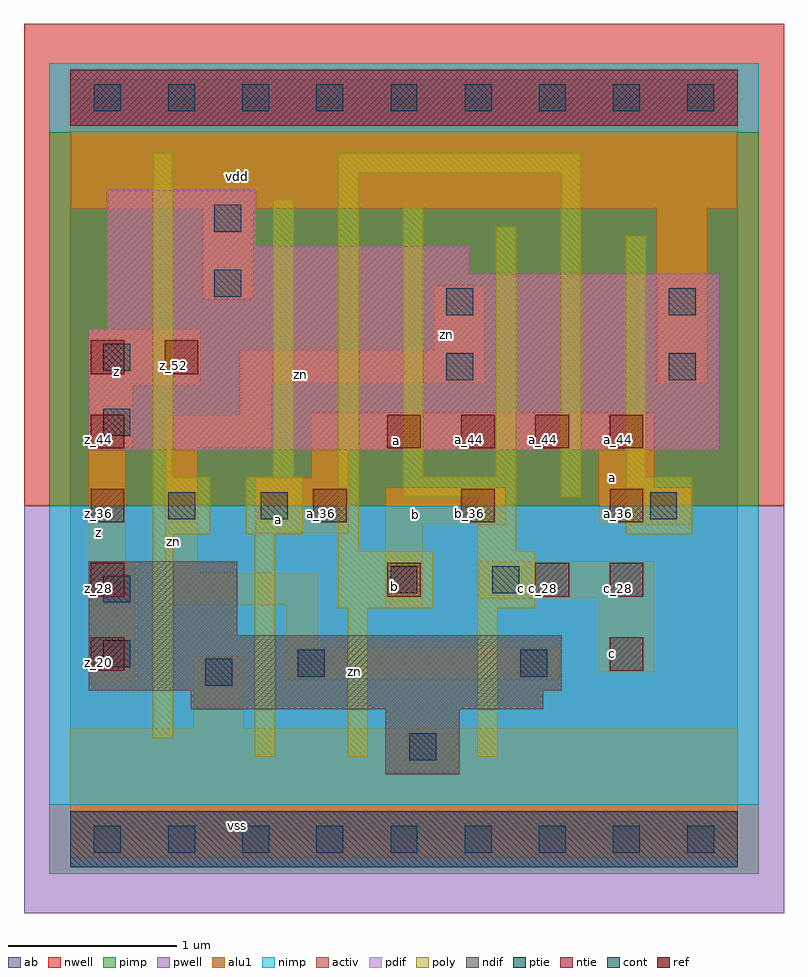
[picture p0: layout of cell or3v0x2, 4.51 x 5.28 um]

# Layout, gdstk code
import gdstk
lib = gdstk.Library(unit=1e-6, precision=2.5e-09)
def R(c, l, rs):  # rectangles x0, y0, x1, y1
    for r in rs: c.add(gdstk.rectangle(r[:2], r[2:], *l))
def A(c, l, x, y, w, h, nx, ny, dx, dy):  # array of equal rectangles
    R(c, l, [(x+i*dx, y+j*dy, x+i*dx+w, y+j*dy+h) for i in range(nx) for j in range(ny)])
ndif = (3, 0)
pdif = (4, 0)
ntie = (5, 0)
ptie = (6, 0)
ref = (24, 0)
cont = (25, 0)
pwell = (41, 0)
nwell = (42, 0)
activ = (43, 0)
pimp = (44, 0)
nimp = (45, 0)
poly = (46, 0)
alu1 = (49, 0)
ab = (63, 0)

or3v0x2 = lib.new_cell('or3v0x2')
R(or3v0x2, ndif, [(1.87,0.385,2.31,0.77), (0.715,0.77,2.805,0.88), (0.11,0.88,2.915,1.21), (0.11,1.21,0.99,1.65)])
R(or3v0x2, pdif, [(0.11,2.31,3.85,3.025), (0.22,3.025,3.85,3.355), (0.22,3.355,2.365,3.52), (0.22,3.52,1.1,3.85)])
R(or3v0x2, ntie, [(0,4.235,3.96,4.565)])
R(or3v0x2, ptie, [(0,-0.165,3.96,0.165)])
A(or3v0x2, ref, 0.12, 1, 0.2, 0.2, 1, 5, 0, 0.44)
A(or3v0x2, ref, 1.44, 1.88, 0.2, 0.2, 3, 1, 0.88, 0)
A(or3v0x2, ref, 1.88, 2.32, 0.2, 0.2, 4, 1, 0.44, 0)
R(or3v0x2, ref, [(3.2,1,3.4,1.2), (1.88,1.44,2.08,1.64), (2.76,1.44,2.96,1.64), (3.2,1.44,3.4,1.64), (0.56,2.76,0.76,2.96)])
A(or3v0x2, cont, 0.14, -0.08, 0.16, 0.16, 9, 2, 0.44, 4.4)
R(or3v0x2, cont, [(2.01,0.47,2.17,0.63), (0.8,0.91,0.96,1.07), (1.35,0.965,1.51,1.125), (2.67,0.965,2.83,1.125), (0.195,1.02,0.355,1.18), (0.195,1.405,0.355,1.565), (1.9,1.46,2.06,1.62), (2.505,1.46,2.665,1.62), (0.58,1.9,0.74,2.06), (1.13,1.9,1.29,2.06), (3.44,1.9,3.6,2.06), (0.195,2.395,0.355,2.555), (2.23,2.725,2.39,2.885), (3.55,2.725,3.71,2.885), (0.195,2.78,0.355,2.94), (2.23,3.11,2.39,3.27), (3.55,3.11,3.71,3.27), (0.855,3.22,1.015,3.38), (0.855,3.605,1.015,3.765)])
R(or3v0x2, pwell, [(-0.275,-0.44,4.235,1.98)])
R(or3v0x2, nwell, [(-0.275,1.98,4.235,4.84)])
R(or3v0x2, activ, [(0,-0.165,3.96,0.165), (1.87,0.385,2.31,0.77), (0.715,0.77,2.805,0.88), (0.11,0.88,2.915,1.21), (0.11,1.21,0.99,1.65), (0.11,2.31,3.85,3.025), (0.22,3.025,3.85,3.355), (0.22,3.355,2.365,3.52), (0.22,3.52,1.1,3.85), (0,4.235,3.96,4.565)])
R(or3v0x2, pimp, [(-0.125,-0.205,4.085,0.205), (-0.125,1.98,4.085,4.195)])
R(or3v0x2, nimp, [(-0.125,0.205,4.085,1.98), (-0.125,4.195,4.085,4.605)])
R(or3v0x2, poly, [(1.095,0.49,1.215,1.81), (1.645,0.49,1.765,1.37), (2.415,0.49,2.535,1.37), (0.49,0.6,0.61,1.81), (1.59,1.37,2.15,1.71), (2.415,1.37,2.755,1.71), (1.59,1.71,1.71,3.955), (2.415,1.71,2.645,2.03), (0.49,1.81,0.83,2.15), (1.04,1.81,1.38,2.15), (3.295,1.81,3.69,2.15), (1.975,2.03,2.645,2.15), (2.91,2.03,3.03,3.955), (0.49,2.15,0.61,4.075), (1.205,2.15,1.325,3.8), (1.975,2.15,2.095,3.745), (2.525,2.15,2.645,3.635), (3.295,2.15,3.415,3.58), (1.59,3.955,3.03,4.075)])
R(or3v0x2, alu1, [(0,-0.11,3.96,0.66), (0.73,0.66,1.03,1.085), (0.11,0.935,0.385,1.65), (1.28,0.95,2.9,1.14), (3.135,0.99,3.465,1.43), (1.28,1.14,1.47,1.39), (1.87,1.375,2.09,1.87), (0.565,1.39,1.47,1.58), (2.42,1.43,3.465,1.65), (0.565,1.58,0.755,2.325), (0.11,1.65,0.33,2.325), (1.1,1.815,1.65,2.145), (1.87,1.87,2.585,2.09), (3.135,1.87,3.685,2.09), (3.135,2.09,3.465,2.31), (1.43,2.145,1.65,2.31), (1.43,2.31,3.465,2.53), (0.11,2.325,0.37,2.695), (0.565,2.325,1.195,2.515), (1.005,2.515,1.195,2.71), (0.11,2.695,0.77,3.025), (1.005,2.71,2.46,2.9), (3.48,2.71,3.78,3.74), (2.16,2.9,2.46,3.285), (0.785,3.205,1.085,3.74), (0,3.74,3.96,4.51)])
R(or3v0x2, ab, [(0,0,3.96,4.4)])
or3v0x2.add(gdstk.Label('vss', (0.99,0.0825), layer=49, texttype=0))
or3v0x2.add(gdstk.Label('c', (3.2175,1.1), layer=49, texttype=0))
or3v0x2.add(gdstk.Label('zn', (1.685,0.9975), layer=49, texttype=0))
or3v0x2.add(gdstk.Label('c', (2.68,1.485), layer=49, texttype=0))
or3v0x2.add(gdstk.Label('b', (1.925,1.4975), layer=49, texttype=0))
or3v0x2.add(gdstk.Label('b', (2.0475,1.925), layer=49, texttype=0))
or3v0x2.add(gdstk.Label('a', (3.2175,2.145), layer=49, texttype=0))
or3v0x2.add(gdstk.Label('a', (1.2375,1.8975), layer=49, texttype=0))
or3v0x2.add(gdstk.Label('a', (1.9375,2.365), layer=49, texttype=0))
or3v0x2.add(gdstk.Label('zn', (0.6125,1.765), layer=49, texttype=0))
or3v0x2.add(gdstk.Label('z', (0.165,1.8175), layer=49, texttype=0))
or3v0x2.add(gdstk.Label('zn', (1.3675,2.7575), layer=49, texttype=0))
or3v0x2.add(gdstk.Label('zn', (2.235,2.995), layer=49, texttype=0))
or3v0x2.add(gdstk.Label('z', (0.275,2.7775), layer=49, texttype=0))
or3v0x2.add(gdstk.Label('vdd', (0.99,3.9325), layer=49, texttype=0))
or3v0x2.add(gdstk.Label('z_52', (0.61,2.81), layer=24, texttype=0))
or3v0x2.add(gdstk.Label('a_36', (1.49,1.93), layer=24, texttype=0))
or3v0x2.add(gdstk.Label('b_28', (1.93,1.49), layer=24, texttype=0))
or3v0x2.add(gdstk.Label('a_44', (1.93,2.37), layer=24, texttype=0))
or3v0x2.add(gdstk.Label('z_20', (0.17,1.05), layer=24, texttype=0))
or3v0x2.add(gdstk.Label('z_28', (0.17,1.49), layer=24, texttype=0))
or3v0x2.add(gdstk.Label('z_36', (0.17,1.93), layer=24, texttype=0))
or3v0x2.add(gdstk.Label('z_44', (0.17,2.37), layer=24, texttype=0))
or3v0x2.add(gdstk.Label('z_52', (0.17,2.81), layer=24, texttype=0))
or3v0x2.add(gdstk.Label('b_36', (2.37,1.93), layer=24, texttype=0))
or3v0x2.add(gdstk.Label('a_44', (2.37,2.37), layer=24, texttype=0))
or3v0x2.add(gdstk.Label('c_28', (2.81,1.49), layer=24, texttype=0))
or3v0x2.add(gdstk.Label('a_44', (2.81,2.37), layer=24, texttype=0))
or3v0x2.add(gdstk.Label('c_20', (3.25,1.05), layer=24, texttype=0))
or3v0x2.add(gdstk.Label('c_28', (3.25,1.49), layer=24, texttype=0))
or3v0x2.add(gdstk.Label('a_36', (3.25,1.93), layer=24, texttype=0))
or3v0x2.add(gdstk.Label('a_44', (3.25,2.37), layer=24, texttype=0))

lib.write_gds('or3v0x2.gds')
